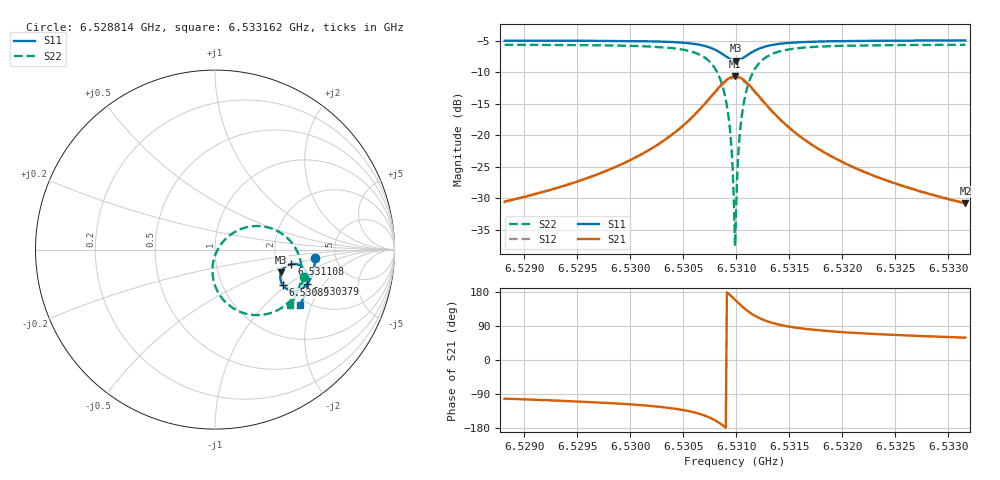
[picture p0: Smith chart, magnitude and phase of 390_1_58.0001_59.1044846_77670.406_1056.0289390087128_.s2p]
#  HZ  S  RI  R  50.00
! Rohde & Schwarz Vector Network Analyzer
! Rohde-Schwarz,ZNB20-2Port,1311601062101988,3.16
! Created: UTC 3/21/2024, 1:07:47 AM
! freq[Hz]  re:S11  im:S11  re:S21  im:S21  re:S12  im:S12  re:S22  im:S22
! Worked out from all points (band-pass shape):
!   401 points, 6.528814 GHz to 6.533162 GHz, reference 50 ohm
!   highest |S21| = -10.69 dB at 6.530988 GHz (marker M1); lowest = -30.8 dB at 6.533162 GHz (marker M2)
!   |S21| within 3 dB of the highest: 6.530771 GHz to 6.531207 GHz (435.2 kHz wide, 0.00666 % of centre)
!   lowest |S11| = -8.2 dB at 6.530999 GHz (marker M3), VSWR 2.28, Z = 103 - j30.4 ohm
!   |S11| at or under -10 dB: nowhere
!   |S22| runs from -37.6 to -5.7 dB; largest |S21 - S12| = 0.011
!   S11 on the Smith chart (normalised r, x): 6.528814 GHz: 3.48, -0.49; 6.530379 GHz: 2.56, -1.40; 6.53089 GHz: 1.92, -0.94; 6.531108 GHz: 2.41, -0.48; 6.533162 GHz: 1.82, -1.65
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6.5288137e9  0.5592 -0.0481  -0.00623 -0.0289  -0.00673 -0.029  0.4983 -0.1513
6.5295421e9  0.5498 -0.1081  -0.015 -0.0414  -0.0159 -0.0412  0.4693 -0.2177
6.5302705e9  0.5226 -0.1786  -0.0469 -0.0711  -0.0488 -0.07  0.392 -0.3101
6.5303792e9  0.5137 -0.1913  -0.0593 -0.0789  -0.0615 -0.0773  0.3658 -0.3284
6.5307271e9  0.4476 -0.2296  -0.1609 -0.0951  -0.163 -0.0889  0.1736 -0.3577
6.5308249e9  0.407 -0.2224  -0.2236 -0.067  -0.2227 -0.0583  0.0678 -0.3014
6.5308902e9  0.3786 -0.199  -0.2656 -0.017  -0.2605 -0.00812  0.00407 -0.2108
6.5309336e9  0.3661 -0.1728  -0.2811 0.0331  -0.2732 0.0406  -0.0143 -0.1247
6.5309554e9  0.3639 -0.1574  -0.282 0.0617  -0.2731 0.0678  -0.0113 -0.0772
6.5309663e9  0.3639 -0.1493  -0.2803 0.0764  -0.271 0.0816  -0.00636 -0.0534
6.5309771e9  0.365 -0.1413  -0.2773 0.0908  -0.2675 0.0953  0.00112 -0.0302
6.530988e9  0.3667 -0.1335  -0.2725 0.1052  -0.2628 0.1086  0.0108 -0.00745
6.5309989e9  0.3694 -0.1257  -0.2666 0.1187  -0.2568 0.1213  0.0228 0.0141
6.5310097e9  0.373 -0.1185  -0.2594 0.1317  -0.2496 0.1335  0.0367 0.0344
6.5310424e9  0.3875 -0.0999  -0.2313 0.1648  -0.2224 0.1641  0.0881 0.0843
6.531075e9  0.4059 -0.0873  -0.1974 0.1871  -0.19 0.185  0.1478 0.116
6.5311076e9  0.4252 -0.0809  -0.1625 0.1988  -0.1568 0.1961  0.2074 0.1299
6.5311837e9  0.4645 -0.0844  -0.0939 0.1969  -0.0908 0.1942  0.3234 0.1145
6.5312924e9  0.4974 -0.1069  -0.0357 0.1666  -0.0344 0.1651  0.4177 0.0496
6.5317164e9  0.5193 -0.1833  0.0144 0.0821  0.0153 0.0821  0.483 -0.1289
6.5324448e9  0.4993 -0.2555  0.0169 0.0394  0.0176 0.0393  0.4557 -0.2447
6.5331623e9  0.4715 -0.3081  0.0148 0.0248  0.0153 0.0245  0.4205 -0.3068
